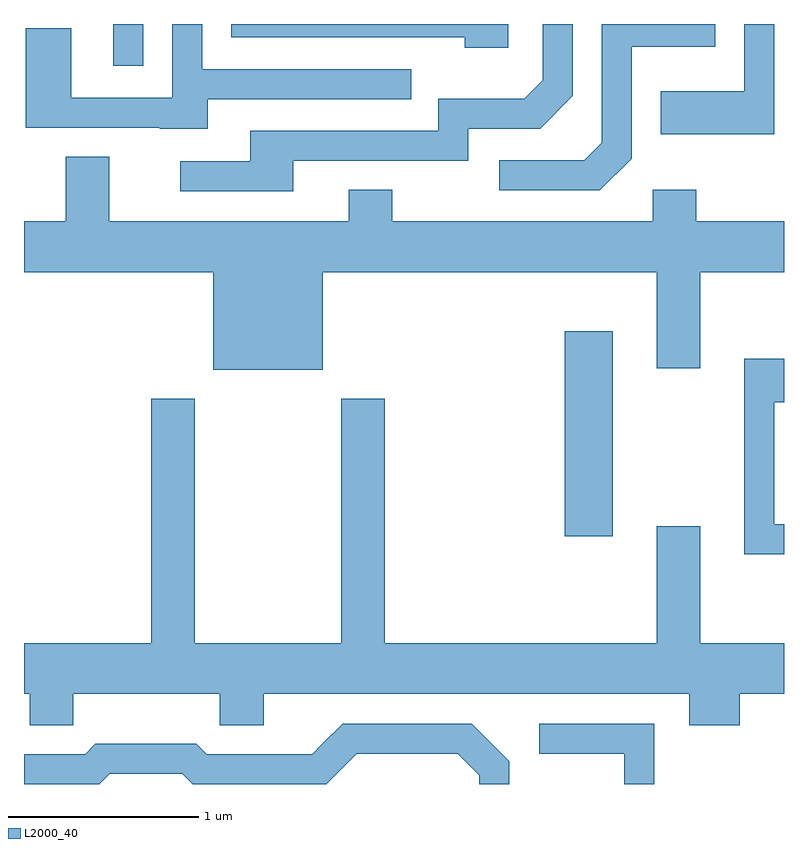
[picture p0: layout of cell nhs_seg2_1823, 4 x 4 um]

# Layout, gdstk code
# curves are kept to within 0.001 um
import gdstk
lib = gdstk.Library(unit=1e-6, precision=1e-09)
def R(c, l, rs):  # rectangles x0, y0, x1, y1
    for r in rs: c.add(gdstk.rectangle(r[:2], r[2:], *l))
def P(c, l, *ps):  # polygons
    for p in ps: c.add(gdstk.Polygon(p, *l))
L2000_40 = (2000, 40)

nhs_seg2_1823 = lib.new_cell('nhs_seg2_1823')
R(nhs_seg2_1823, L2000_40, [(240.456,1089.106,240.709,1090.184), (238.081,1091.583,238.239,1091.802)])
P(nhs_seg2_1823, L2000_40, [(240.159,1091.802),(238.701,1091.802),(238.701,1091.731),(239.931,1091.731),(239.931,1091.676),(240.159,1091.676)],
  [(240.809,1091.094),(240.809,1091.681),(241.249,1091.681),(241.249,1091.802),(240.651,1091.802),(240.651,1091.177),(240.559,1091.084),(240.113,1091.084),(240.113,1090.926),(240.642,1090.926)],
  [(241.559,1091.802),(241.401,1091.802),(241.401,1091.449),(240.961,1091.449),(240.961,1091.221),(241.559,1091.221)],
  [(238.579,1091.406),(239.648,1091.406),(239.648,1091.564),(238.549,1091.564),(238.549,1091.802),(238.391,1091.802),(238.391,1091.414),(237.859,1091.414),(237.859,1091.779),(237.621,1091.779),(237.621,1091.256),(238.325,1091.256),(238.325,1091.251),(238.579,1091.251)],
  [(239.029,1091.081),(239.949,1091.081),(239.949,1091.251),(240.327,1091.251),(240.499,1091.424),(240.499,1091.802),(240.341,1091.802),(240.341,1091.507),(240.244,1091.409),(239.791,1091.409),(239.791,1091.239),(238.801,1091.239),(238.801,1091.079),(238.433,1091.079),(238.433,1090.921),(239.029,1090.921)],
  [(240.941,1089.991),(241.169,1089.991),(241.169,1090.496),(241.611,1090.496),(241.611,1090.764),(241.149,1090.764),(241.149,1090.929),(240.921,1090.929),(240.921,1090.764),(239.549,1090.764),(239.549,1090.929),(239.321,1090.929),(239.321,1090.764),(238.059,1090.764),(238.059,1091.104),(237.831,1091.104),(237.831,1090.764),(237.611,1090.764),(237.611,1090.496),(238.606,1090.496),(238.606,1089.981),(239.184,1089.981),(239.184,1090.496),(240.941,1090.496)],
  [(241.611,1089.169),(241.559,1089.169),(241.559,1089.811),(241.611,1089.811),(241.611,1090.039),(241.401,1090.039),(241.401,1089.011),(241.611,1089.011)],
  [(237.869,1088.276),(238.641,1088.276),(238.641,1088.111),(238.874,1088.111),(238.874,1088.276),(241.111,1088.276),(241.111,1088.111),(241.379,1088.111),(241.379,1088.276),(241.611,1088.276),(241.611,1088.544),(241.169,1088.544),(241.169,1089.159),(240.941,1089.159),(240.941,1088.544),(239.509,1088.544),(239.509,1089.829),(239.281,1089.829),(239.281,1088.544),(238.509,1088.544),(238.509,1089.829),(238.281,1089.829),(238.281,1088.544),(237.611,1088.544),(237.611,1088.276),(237.641,1088.276),(237.641,1088.111),(237.869,1088.111)],
  [(238.062,1087.856),(238.444,1087.856),(238.498,1087.802),(239.203,1087.802),(239.362,1087.961),(239.894,1087.961),(240.006,1087.849),(240.006,1087.802),(240.164,1087.802),(240.164,1087.922),(239.967,1088.119),(239.289,1088.119),(239.129,1087.959),(238.572,1087.959),(238.517,1088.014),(237.989,1088.014),(237.934,1087.959),(237.611,1087.959),(237.611,1087.802),(238.007,1087.802)],
  [(240.929,1088.119),(240.323,1088.119),(240.323,1087.961),(240.771,1087.961),(240.771,1087.802),(240.929,1087.802)])

lib.write_gds('nhs_seg2_1823.gds')
